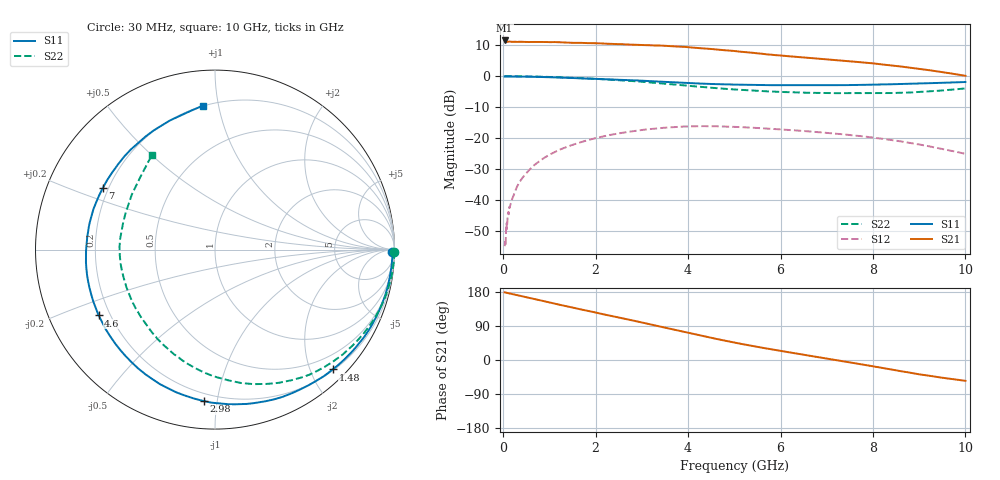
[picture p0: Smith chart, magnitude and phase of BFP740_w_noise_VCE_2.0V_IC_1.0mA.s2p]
! Infineon Technologies  Discrete & RF Semiconductors
! BFP740
! VCE =  2.0 V,  IC =  1.0 mA
! Common Emitter S-Parameters:  Jan 2016
# GHz  S  MA  R  50
!  f  S11  S21  S12  S22
! GHz  MAG  ANG  MAG  ANG  MAG  ANG  MAG  ANG
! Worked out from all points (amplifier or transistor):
!   229 points, 30 MHz to 10 GHz, reference 50 ohm
!   highest |S21| = 11.5 dB at 30 MHz (marker M1)
!   |S21| within 3 dB of that: start of sweep to 4.674 GHz
!   unconditionally stable (mu >= 1): 8.829 GHz to end of sweep
!   at 280 MHz: K = 0.02, MSG = 23.7 dB, |S12| = -36.4 dB
!   at 1.78 GHz: K = 0.15, MSG = 15.8 dB, |S12| = -20.9 dB
!   at 10 GHz: K = 1.39, MAG = 8.9 dB, |S12| = -25.1 dB
!   lowest NFmin = 0.50 dB at 450 MHz
!   S11 on the Smith chart (normalised r, x): 30 MHz: open; 1.48 GHz: 0.22, -2.37; 2.98 GHz: 0.15, -0.92; 4.6 GHz: 0.16, -0.26; 7 GHz: 0.18, +0.25; 10 GHz: 0.20, +0.90
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0.03  0.9889 -0.9  3.77 178.6  0.0018 68.4  0.9994 -0.7
0.04  0.9896 -1.2  3.568 178.3  0.0021 104.2  1 -0.9
0.05  0.9911 -1.5  3.578 178.3  0.0018 87.4  0.9987 -1.2
0.07  0.9901 -2.2  3.593 177.6  0.0042 75.3  0.9998 -1.6
0.08  0.9898 -2.4  3.586 177.2  0.0034 87.2  1 -1.8
0.13  0.9885 -4.0  3.621 175.8  0.0077 87.4  0.9994 -2.9
0.38  0.9841 -11.6  3.594 169.0  0.0209 81.0  0.9943 -8.4
0.9  0.9674 -27.6  3.566 154.7  0.0487 68.6  0.9766 -19.7
1.48  0.9363 -45.5  3.451 138.9  0.0769 54.7  0.9422 -32.3
1.7  0.9231 -52.5  3.444 133.0  0.0867 49.7  0.9268 -37.1
2.3  0.8901 -71.8  3.336 117.2  0.1121 35.8  0.881 -50.6
2.98  0.8462 -94.2  3.191 99.5  0.1346 20.5  0.8146 -66.1
3.4  0.8154 -108.9  3.12 88.1  0.1452 10.6  0.7677 -76.5
3.9  0.7807 -126.6  2.981 74.5  0.1536 -1.1  0.7112 -89.2
4.6  0.745 -150.5  2.7 56.0  0.1553 -16.6  0.6425 -106.7
5.1  0.7288 -165.9  2.493 43.7  0.1508 -26.6  0.6042 -118.2
6  0.7139 171.7  2.158 24.1  0.1381 -41.9  0.5576 -138.0
6.8  0.7127 155.1  1.921 7.8  0.125 -53.7  0.5359 -157.2
7  0.7131 151.1  1.867 3.7  0.1213 -56.4  0.5327 -162.2
8.4  0.7398 121.3  1.49 -25.2  0.0931 -74.5  0.5339 163.0
9  0.7619 109.3  1.319 -37.8  0.0789 -80.7  0.5558 146.5
10  0.8043 94.8  1.014 -55.0  0.0557 -83.1  0.6339 123.6
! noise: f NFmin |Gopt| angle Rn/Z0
0.45  0.5  0.62  13  0.41
0.9  0.58  0.64  21  0.39
1.5  0.71  0.61  32  0.38
1.9  0.76  0.58  45  0.37
2.4  0.81  0.58  52  0.35
3.5  0.96  0.55  78  0.32
5.5  1.37  0.4  148  0.29
10  2.28  0.63  -92  0.39
